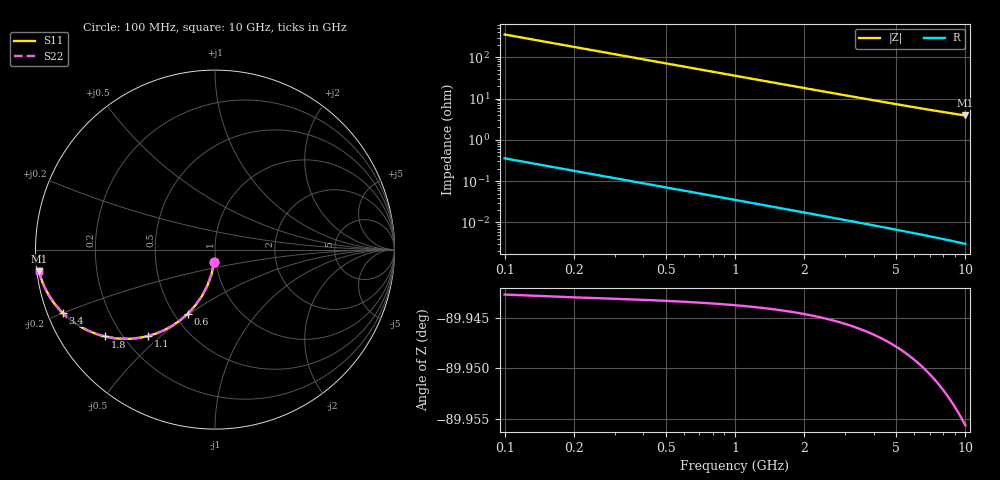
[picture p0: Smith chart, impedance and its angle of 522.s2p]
# Hz S RI R 50.00
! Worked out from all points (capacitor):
!   100 points, 100 MHz to 10 GHz, reference 50 ohm
!   read as one part in shunt: C = 4.46 pF near 100 MHz
!   lowest |Z| = 3.89 ohm at 10 GHz (marker M1)
!   S11 on the Smith chart (normalised r, x): 100 MHz: 0.98, -0.14; 600 MHz: 0.59, -0.49; 1.1 GHz: 0.30, -0.46; 1.8 GHz: 0.14, -0.34; 3.4 GHz: 0.04, -0.20; 10 GHz: 0.01, -0.06
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1e8  -0.00493 -0.0696  0.995 -0.0699  0.995 -0.0699  -0.00493 -0.0696
2e8  -0.0194 -0.1371  0.9806 -0.1377  0.9806 -0.1377  -0.0194 -0.1371
3e8  -0.0425 -0.2008  0.9575 -0.2017  0.9575 -0.2017  -0.0425 -0.2008
4e8  -0.073 -0.2591  0.9269 -0.2603  0.9269 -0.2603  -0.073 -0.2591
5e8  -0.1095 -0.3111  0.8904 -0.3125  0.8904 -0.3125  -0.1095 -0.3111
6e8  -0.1504 -0.3561  0.8496 -0.3578  0.8496 -0.3578  -0.1504 -0.3561
7e8  -0.194 -0.394  0.8059 -0.396  0.8059 -0.396  -0.194 -0.394
8e8  -0.2391 -0.4249  0.7608 -0.4272  0.7608 -0.4272  -0.2391 -0.4249
9e8  -0.2845 -0.4494  0.7154 -0.452  0.7154 -0.452  -0.2845 -0.4494
1.1e9  -0.3724 -0.4814  0.6275 -0.4846  0.6275 -0.4846  -0.3724 -0.4814
1.4e9  -0.4899 -0.4974  0.5101 -0.5014  0.5101 -0.5014  -0.4899 -0.4974
1.6e9  -0.5562 -0.494  0.4437 -0.4986  0.4437 -0.4986  -0.5562 -0.494
1.8e9  -0.6132 -0.4839  0.3867 -0.4891  0.3867 -0.4891  -0.6132 -0.4839
2.1e9  -0.6832 -0.4617  0.3168 -0.4678  0.3168 -0.4678  -0.6832 -0.4617
2.5e9  -0.7533 -0.4269  0.2466 -0.4342  0.2466 -0.4342  -0.7533 -0.4269
2.9e9  -0.8041 -0.3921  0.1958 -0.4006  0.1958 -0.4006  -0.8041 -0.3921
3.4e9  -0.8494 -0.3521  0.1505 -0.3621  0.1505 -0.3621  -0.8494 -0.3521
4.2e9  -0.8959 -0.2985  0.1039 -0.311  0.1039 -0.311  -0.8959 -0.2985
5.1e9  -0.927 -0.2518  0.0728 -0.267  0.0728 -0.267  -0.927 -0.2518
6.7e9  -0.9566 -0.1928  0.0431 -0.2131  0.0431 -0.2131  -0.9566 -0.1928
8.4e9  -0.9722 -0.1505  0.0274 -0.1763  0.0274 -0.1763  -0.9722 -0.1505
1e10  -0.9804 -0.1215  0.0191 -0.1528  0.0191 -0.1528  -0.9804 -0.1215
